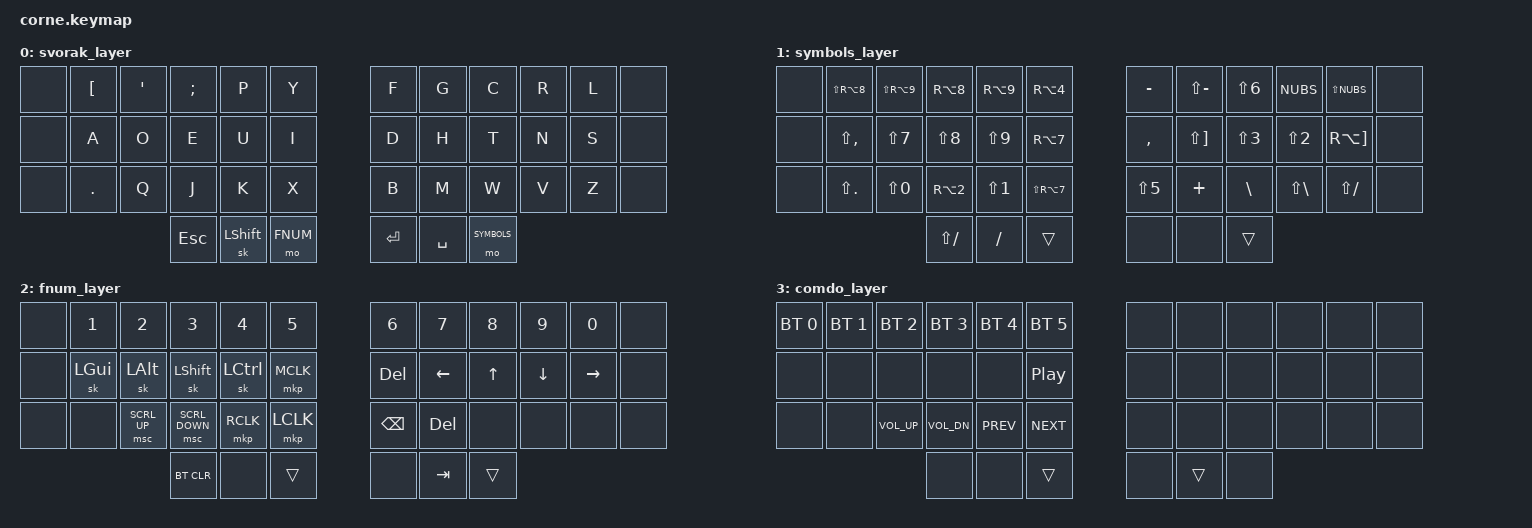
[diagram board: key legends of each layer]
/*
 * Copyright (c) 2020 The ZMK Contributors
 *
 * SPDX-License-Identifier: MIT
 */

 #define ZMK_POINTING_DEFAULT_SCRL_VAL 30    // default: 10

#include <behaviors.dtsi>
#include <dt-bindings/zmk/keys.h>
#include <dt-bindings/zmk/bt.h>
#include <dt-bindings/zmk/pointing.h>

// Swedish letters and symbols
#define SE_AA LBKT
#define SE_AE SQT
#define SE_OE SEMI
#define SE_QUO BACKSLASH
#define SE_COL LS(DOT)
#define SE_SEMI LS(COMMA)
#define SE_EXCL LS(N1)
#define SE_DQUO LS(N2)
#define SE_HASH LS(N3)
#define SE_PERC LS(N5)
#define SE_AMPR LS(N6)
#define SE_SLSH LS(N7)
#define SE_LPRN LS(N8)
#define SE_RPRN LS(N9)
#define SE_EQAL LS(N0)
#define SE_CIRC LS(RBKT)
#define SE_AT RA(N2)
#define SE_DLR RA(N4)
#define SE_LCBR LS(RA(N8))
#define SE_LBRC RA(N8)
#define SE_RBRC RA(N9)
#define SE_RCBR LS(RA(N9))
#define SE_TILD RA(RBKT)
#define SE_DIAE RBKT
#define SE_ACUT EQUAL
#define SE_MINS SLASH
#define SE_GRAV PLUS
#define SE_LESS NUBS
#define SE_MORE LS(NUBS)
#define SE_PLUS MINUS
#define SE_ASTR LS(BACKSLASH)
#define SE_QUES LS(MINUS)
#define SE_BSLH LS(RA(N7))
#define SE_PIPE RA(N7)
#define SE_USC LS(SLASH)

// Layer names
#define SVORAK 0
#define SYMBOLS 1
#define FNUM 2
#define COMBO 3

/ {
    conditional_layers {
        compatible = "zmk,conditional-layers";
        tri_layer {
            if-layers = <SYMBOLS FNUM>;
            then-layer = <COMBO>;
        };
    };

    keymap {
        compatible = "zmk,keymap";

        svorak_layer {
            bindings = <
                &none &kp SE_AA    &kp SE_AE    &kp SE_OE    &kp P       &kp Y       &kp F       &kp G       &kp C       &kp R       &kp L &none
                &none &kp A        &kp O        &kp E        &kp U       &kp I       &kp D       &kp H       &kp T       &kp N       &kp S &none
                &none &kp DOT      &kp Q        &kp J        &kp K       &kp X       &kp B       &kp M       &kp W       &kp V       &kp Z &none
                &kp ESC      &sk LSHFT    &mo FNUM                 &kp ENTER   &kp SPACE   &mo SYMBOLS
            >;
        };

        symbols_layer {
            bindings = <
                &none &kp SE_LCBR  &kp SE_RCBR  &kp SE_LBRC  &kp SE_RBRC  &kp SE_DLR   &kp SE_PLUS  &kp SE_QUES  &kp SE_AMPR  &kp SE_LESS  &kp SE_MORE &none
                &none &kp SE_SEMI  &kp SE_SLSH  &kp SE_LPRN  &kp SE_RPRN  &kp SE_PIPE  &kp COMMA    &kp SE_CIRC  &kp SE_HASH  &kp SE_DQUO  &kp SE_TILD &none
                &none &kp SE_COL   &kp SE_EQAL  &kp SE_AT    &kp SE_EXCL  &kp SE_BSLH  &kp SE_PERC  &kp SE_GRAV  &kp SE_QUO   &kp SE_ASTR  &kp SE_USC &none
                &kp SE_USC   &kp SE_MINS  &trans            &none     &none    &trans
            >;
        };

        fnum_layer {
            bindings = <
                &none &kp N1      &kp N2        &kp N3          &kp N4       &kp N5       &kp N6       &kp N7       &kp N8       &kp N9       &kp N0 &none
                &none &sk LGUI    &sk LALT      &sk LSHFT       &sk LCTRL    &mkp MCLK    &kp DEL      &kp LEFT     &kp UP       &kp DOWN     &kp RIGHT &none
                &none &none       &msc SCRL_UP  &msc SCRL_DOWN  &mkp RCLK    &mkp LCLK    &kp BSPC     &kp DEL      &none        &none        &none &none
                                          &bt BT_CLR           &none        &trans       &none        &kp TAB      &trans
            >;
        };

        comdo_layer {
            bindings = <
                &bt BT_SEL 0   &bt BT_SEL 1  &bt BT_SEL 2  &bt BT_SEL 3   &bt BT_SEL 4  &bt BT_SEL 5        &none  &none  &none  &none  &none  &none
                &none          &none         &none         &none         &none          &kp C_PLAY_PAUSE    &none  &none  &none  &none  &none  &none
                &none          &none         &kp C_VOL_UP  &kp C_VOL_DN  &kp C_PREV     &kp C_NEXT          &none  &none  &none  &none  &none  &none
                                          &none           &none        &trans       &none        &trans     &none
            >;
        };
    };
}; 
